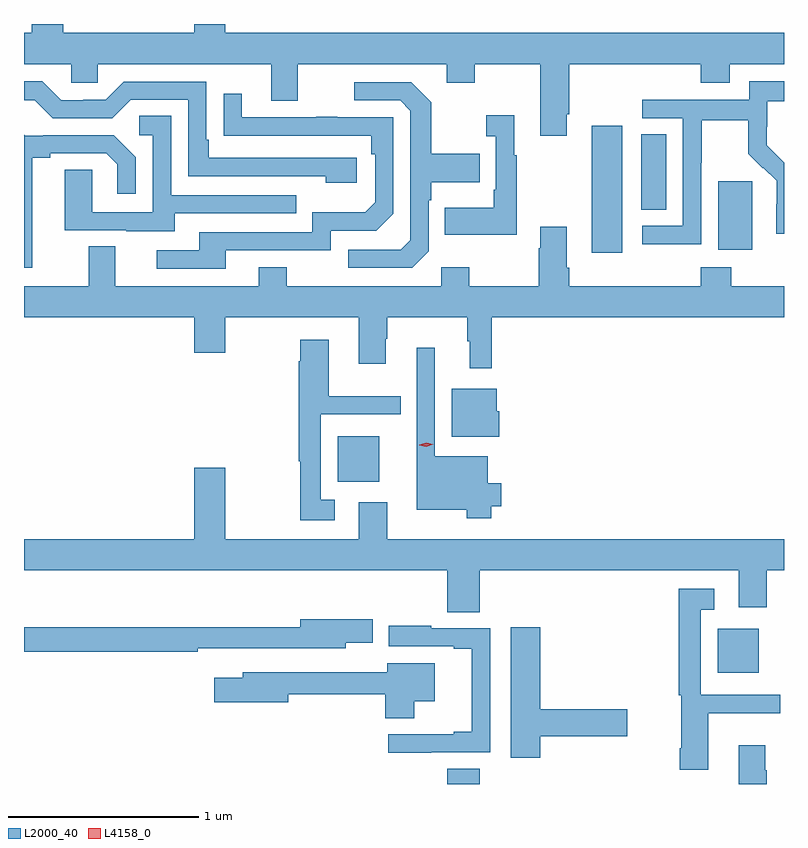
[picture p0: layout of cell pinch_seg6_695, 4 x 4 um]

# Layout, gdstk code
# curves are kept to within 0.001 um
import gdstk
lib = gdstk.Library(unit=1e-6, precision=1e-09)
def R(c, l, rs):  # rectangles x0, y0, x1, y1
    for r in rs: c.add(gdstk.rectangle(r[:2], r[2:], *l))
def P(c, l, *ps):  # polygons
    for p in ps: c.add(gdstk.Polygon(p, *l))
L2000_40 = (2000, 40)
L4158_0 = (4158, 0)

pinch_seg6_695 = lib.new_cell('pinch_seg6_695')
R(pinch_seg6_695, L2000_40, [(502.004,944.879,502.175,944.96), (503.426,945.464,503.644,945.697), (501.428,946.469,501.646,946.708), (502.763,947.676,502.924,948.343), (503.429,947.69,503.608,948.051), (503.024,947.902,503.155,948.299)])
P(pinch_seg6_695, L2000_40, [(502.633,948.403),(502.646,948.403),(502.646,948.668),(503.339,948.668),(503.339,948.569),(503.491,948.569),(503.491,948.668),(503.776,948.668),(503.776,948.832),(500.836,948.832),(500.836,948.879),(500.672,948.879),(500.672,948.832),(499.982,948.832),(499.982,948.879),(499.817,948.879),(499.817,948.832),(499.776,948.832),(499.776,948.668),(500.025,948.668),(500.025,948.57),(500.163,948.57),(500.163,948.668),(501.077,948.668),(501.077,948.474),(501.217,948.474),(501.217,948.668),(502.001,948.668),(502.001,948.569),(502.149,948.569),(502.149,948.668),(502.493,948.668),(502.493,948.291),(502.633,948.291)],
  [(503.34,948.148),(503.343,948.148),(503.343,948.372),(503.587,948.372),(503.587,948.197),(503.664,948.12),(503.667,948.123),(503.738,948.053),(503.738,947.93),(503.736,947.93),(503.736,947.776),(503.776,947.776),(503.776,948.15),(503.759,948.167),(503.76,948.168),(503.686,948.242),(503.686,948.339),(503.688,948.339),(503.688,948.473),(503.776,948.473),(503.776,948.577),(503.592,948.577),(503.592,948.48),(503.031,948.48),(503.031,948.384),(503.244,948.384),(503.244,947.817),(503.031,947.817),(503.031,947.719),(503.34,947.719)],
  [(501.526,948.174),(500.749,948.174),(500.749,948.271),(500.736,948.271),(500.736,948.576),(500.301,948.576),(500.205,948.48),(500.087,948.48),(500.087,948.477),(499.971,948.477),(499.871,948.577),(499.776,948.577),(499.776,948.477),(499.833,948.477),(499.926,948.384),(500.241,948.384),(500.337,948.48),(500.64,948.48),(500.64,948.078),(501.365,948.078),(501.365,948.044),(501.526,948.044)],
  [(501.906,947.682),(501.906,947.951),(501.919,947.951),(501.919,948.047),(502.175,948.047),(502.175,948.195),(501.919,948.195),(501.919,948.467),(501.813,948.573),(501.513,948.573),(501.513,948.477),(501.756,948.477),(501.81,948.423),(501.81,947.742),(501.759,947.691),(501.483,947.691),(501.483,947.595),(501.819,947.595)],
  [(500.839,947.688),(501.39,947.688),(501.39,947.79),(501.63,947.79),(501.72,947.88),(501.72,948.387),(501.425,948.387),(501.425,948.392),(501.313,948.392),(501.313,948.387),(500.923,948.387),(500.923,948.511),(500.827,948.511),(500.827,948.292),(501.604,948.291),(501.604,948.194),(501.624,948.194),(501.624,947.94),(501.571,947.887),(501.294,947.887),(501.294,947.784),(500.699,947.784),(500.699,947.688),(500.475,947.688),(500.475,947.592),(500.839,947.592)],
  [(502.369,948.187),(502.357,948.187),(502.357,948.4),(502.209,948.4),(502.209,948.287),(502.26,948.287),(502.26,948.007),(502.248,948.007),(502.248,947.911),(501.991,947.911),(501.991,947.771),(502.369,947.771)],
  [(500.569,947.883),(501.209,947.883),(501.209,947.979),(500.55,947.979),(500.55,948.395),(500.382,948.395),(500.382,948.294),(500.454,948.294),(500.454,947.889),(500.136,947.889),(500.136,948.113),(499.991,948.113),(499.991,947.793),(500.315,947.793),(500.315,947.789),(500.569,947.789)],
  [(499.819,948.176),(499.915,948.176),(499.915,948.198),(500.21,948.198),(500.267,948.141),(500.267,947.985),(500.364,947.985),(500.364,948.178),(500.248,948.294),(499.876,948.294),(499.876,948.291),(499.782,948.291),(499.776,948.297),(499.776,947.595),(499.819,947.595)],
  [(502.238,947.336),(503.776,947.336),(503.776,947.5),(503.499,947.5),(503.499,947.599),(503.339,947.599),(503.339,947.5),(502.646,947.5),(502.646,947.596),(502.633,947.596),(502.633,947.812),(502.493,947.812),(502.493,947.699),(502.486,947.699),(502.486,947.5),(502.119,947.5),(502.119,947.599),(501.972,947.599),(501.972,947.5),(501.159,947.5),(501.159,947.599),(501.011,947.599),(501.011,947.5),(500.257,947.5),(500.257,947.708),(500.117,947.708),(500.117,947.5),(499.776,947.5),(499.776,947.336),(500.672,947.336),(500.672,947.148),(500.836,947.148),(500.836,947.336),(501.539,947.336),(501.539,947.091),(501.679,947.091),(501.679,947.222),(501.687,947.222),(501.687,947.336),(502.11,947.336),(502.11,947.21),(502.121,947.21),(502.121,947.067),(502.238,947.067)],
  [(501.412,946.375),(501.339,946.375),(501.339,946.824),(501.758,946.824),(501.758,946.921),(501.379,946.921),(501.379,947.218),(501.23,947.218),(501.23,947.105),(501.223,947.105),(501.223,946.578),(501.231,946.578),(501.231,946.266),(501.412,946.266)],
  [(502.235,946.34),(502.289,946.34),(502.289,946.462),(502.216,946.462),(502.216,946.603),(501.939,946.603),(501.939,947.176),(501.843,947.176),(501.843,946.699),(501.842,946.699),(501.842,946.322),(502.107,946.322),(502.107,946.277),(502.235,946.277)],
  [(502.276,946.842),(502.264,946.842),(502.264,946.96),(502.028,946.96),(502.028,946.706),(502.276,946.706)],
  [(502.175,946.004),(503.537,946.004),(503.537,945.81),(503.686,945.81),(503.686,946.004),(503.776,946.004),(503.776,946.168),(501.688,946.168),(501.688,946.363),(501.539,946.363),(501.539,946.168),(500.836,946.168),(500.836,946.543),(500.672,946.543),(500.672,946.168),(499.776,946.168),(499.776,946.004),(502.004,946.004),(502.004,945.784),(502.175,945.784)],
  [(503.377,945.251),(503.756,945.251),(503.756,945.348),(503.337,945.348),(503.337,945.797),(503.41,945.797),(503.41,945.907),(503.221,945.907),(503.221,945.345),(503.236,945.345),(503.236,945.067),(503.228,945.067),(503.228,944.955),(503.377,944.955)],
  [(500.69,945.594),(501.469,945.594),(501.469,945.623),(501.612,945.623),(501.612,945.745),(501.23,945.745),(501.23,945.703),(499.776,945.703),(499.776,945.574),(500.69,945.574)],
  [(501.92,945.045),(502.23,945.045),(502.23,945.699),(501.92,945.699),(501.92,945.712),(501.697,945.712),(501.697,945.603),(502.037,945.603),(502.037,945.591),(502.133,945.591),(502.133,945.154),(502.037,945.154),(502.037,945.141),(501.693,945.141),(501.693,945.044),(501.92,945.044)],
  [(502.493,945.13),(502.951,945.13),(502.951,945.272),(502.493,945.272),(502.493,945.703),(502.337,945.703),(502.337,945.018),(502.493,945.018)],
  [(501.831,945.314),(501.937,945.314),(501.937,945.514),(501.689,945.514),(501.689,945.468),(500.927,945.468),(500.927,945.439),(500.778,945.439),(500.778,945.31),(501.166,945.31),(501.166,945.352),(501.677,945.352),(501.677,945.226),(501.831,945.226)],
  [(503.685,944.951),(503.677,944.951),(503.677,945.082),(503.537,945.082),(503.537,944.879),(503.685,944.879)])
P(pinch_seg6_695, L4158_0, [(501.894,946.655),(501.857,946.663),(501.857,946.664),(501.857,946.664),(501.893,946.675),(501.929,946.667),(501.929,946.666),(501.929,946.666)])

lib.write_gds('pinch_seg6_695.gds')
